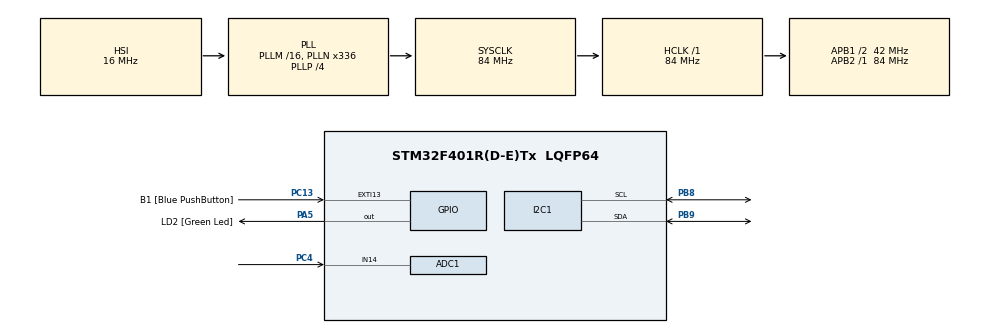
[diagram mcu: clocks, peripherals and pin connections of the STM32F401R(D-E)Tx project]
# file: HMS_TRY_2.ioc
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ADC1.Channel-0\#ChannelRegularConversion=ADC_CHANNEL_14
ADC1.ContinuousConvMode=ENABLE
ADC1.NbrOfConversionFlag=1
ADC1.Rank-0\#ChannelRegularConversion=1
ADC1.SamplingTime-0\#ChannelRegularConversion=ADC_SAMPLETIME_3CYCLES
ADC1.master=1
Mcu.Family=STM32F4
Mcu.Name=STM32F401R(D-E)Tx
Mcu.Package=LQFP64
NVIC.PriorityGroup=NVIC_PRIORITYGROUP_0
PA13.GPIO_Label=TMS
PA13.Mode=Serial_Wire
PA13.Signal=SYS_JTMS-SWDIO
PA14.GPIO_Label=TCK
PA14.Mode=Serial_Wire
PA14.Signal=SYS_JTCK-SWCLK
PA5.GPIO_Label=LD2 [Green Led]
PA5.GPIO_Mode=GPIO_MODE_OUTPUT_PP
PA5.GPIO_PuPd=GPIO_NOPULL
PA5.GPIO_Speed=GPIO_SPEED_FREQ_LOW
PA5.Signal=GPIO_Output
PB3.GPIO_Label=SWO
PB3.Signal=SYS_JTDO-SWO
PB8.GPIO_Pu=GPIO_PULLUP
PB8.Mode=I2C
PB8.Signal=I2C1_SCL
PB9.GPIO_Pu=GPIO_PULLUP
PB9.Mode=I2C
PB9.Signal=I2C1_SDA
PC13-ANTI_TAMP.GPIO_Label=B1 [Blue PushButton]
PC13-ANTI_TAMP.GPIO_ModeDefaultEXTI=GPIO_MODE_IT_FALLING
PC13-ANTI_TAMP.GPIO_PuPd=GPIO_NOPULL
PC13-ANTI_TAMP.Signal=GPXTI13
PC14-OSC32_IN.Mode=LSE-External-Oscillator
PC14-OSC32_IN.Signal=RCC_OSC32_IN
PC15-OSC32_OUT.Mode=LSE-External-Oscillator
PC15-OSC32_OUT.Signal=RCC_OSC32_OUT
PC4.Signal=ADCx_IN14
PH0\ -\ OSC_IN.Mode=HSE-External-Clock-Source
PH0\ -\ OSC_IN.Signal=RCC_OSC_IN
PH1\ -\ OSC_OUT.Mode=HSE-External-Clock-Source
PH1\ -\ OSC_OUT.Signal=RCC_OSC_OUT
ProjectManager.HeapSize=0x200
ProjectManager.StackSize=0x400
ProjectManager.TargetToolchain=STM32CubeIDE
RCC.48MHZClocksFreq_Value=48000000
RCC.AHBFreq_Value=84000000
RCC.APB1CLKDivider=RCC_HCLK_DIV2
RCC.APB1Freq_Value=42000000
RCC.APB1TimFreq_Value=84000000
RCC.APB2Freq_Value=84000000
RCC.APB2TimFreq_Value=84000000
RCC.CortexFreq_Value=84000000
RCC.HCLKFreq_Value=84000000
RCC.HSE_VALUE=8000000
RCC.HSI_VALUE=16000000
RCC.PLLN=336
RCC.PLLP=RCC_PLLP_DIV4
RCC.PLLQ=7
RCC.SYSCLKFreq_VALUE=84000000
RCC.SYSCLKSource=RCC_SYSCLKSOURCE_PLLCLK
RCC.VCOOutputFreq_Value=336000000
SH.ADCx_IN14.0=ADC1_IN14,IN14
board=NUCLEO-F401RE

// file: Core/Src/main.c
/* USER CODE BEGIN Header */
/**
 ******************************************************************************
 * @file           : main.c
 * @brief          : Main program body
 ******************************************************************************
 * @attention
 *
 * Copyright (c) 2023 STMicroelectronics.
 * All rights reserved.
 *
 * This software is licensed under terms that can be found in the LICENSE file
 * in the root directory of this software component.
 * If no LICENSE file comes with this software, it is provided AS-IS.
 *
 ******************************************************************************
 */
/* USER CODE END Header */
#include "main.h"

/* USER CODE BEGIN Includes */
#include "BML_DEF.h"
#include "uart.h"
#include "MLX90614.h"
#include "max30100.h"
#include "st7783.h"
/* USER CODE END Includes */

/* USER CODE BEGIN PD */
#define PRINT_CHAR_LEN	100
/* USER CODE END PD */

/* USER CODE BEGIN PM */
#define BEAT_COUNTER_LIMIT	25
#define HR_BEAT_TIMEOUT		60000
/* USER CODE END PM */

ADC_HandleTypeDef hadc1;

I2C_HandleTypeDef hi2c1;

/* USER CODE BEGIN PV */

char globalStr[25] = { '\0' };
float globalTemp = 0;
int globalHR = 0;
int globalSpO2 = 0;
int globalECG = 0;

int8_t menu_select_flag = -1;

//======== MLX90614 Variables ==========//
float temp = 0;
//======================================//

//=========== ECG Variables ============//
int16_t adcData = 0;
int16_t adcDataPrev = 0;
int ECG_HR = 0;
//======================================//

//======== MAX30100 Variables ==========//
max30100_config_t max30100 = { 0 };
uint8_t beatCounter = 0;
int16_t finalHR = 0;
int16_t finalSpO2 = 0;
uint16_t hrBeatTimer = 0;
//======================================//

/* USER CODE END PV */

void SystemClock_Config(void);
static void MX_GPIO_Init(void);
static void MX_I2C1_Init(void);
static void MX_ADC1_Init(void);

int main(void) {

	/* MCU Configuration--------------------------------------------------------*/

	/* Reset of all peripherals, Initializes the Flash interface and the Systick. */
	HAL_Init();

	/* Configure the system clock */
	SystemClock_Config();

	/* Initialize all configured peripherals */
	MX_GPIO_Init();
	MX_I2C1_Init();
	MX_ADC1_Init();
	/* USER CODE BEGIN 2 */
	uart_print_config(115200);
	USART_INIT(USART6, PORTA, PORTA, 11, 12, 115200);
//  USART_IT_EN(USART6, 0, 1, 0);
	print("Working\r\n");

//	globalECG = 75;
//	globalSpO2 = 97;
//	globalHR = 71;
//	globalTemp = 27.45;

	gpio_config(PORTC, 9, INPUT_MODE, LOW_SPEED, EN_PU, PHPL);
	gpio_IT_config(PORTC, 9, FALLING_EDGE);
	gpio_IT_EN(9, EXTI9_5_IRQn);

	uint8_t mlx90614_workingFlag = 1, mlx90614_status = 0;

	char print_char[PRINT_CHAR_LEN] = { 0 };

	if (!(mlx90614_init())) {
		print("Error in MLX90614 INIT\n");
		mlx90614_workingFlag = 0;
	}

	uint32_t max30100_startTime = HAL_GetTick(), max30100_lapsedTime = 500;
	uint32_t temp_startTime = HAL_GetTick(), temp_lapsedTime = 500;
	uint32_t ecg_startTime = HAL_GetTick(), ecg_lapsedTime = 60000;
	uint32_t wifi_startTime = HAL_GetTick(), wifi_lapsedTime = 2000;
	max30100_data_t result = { };

	/* USER CODE END 2 */

	/* Infinite loop */
	/* USER CODE BEGIN WHILE */
	while (1) {
		if (menu_select_flag == 0) {
			if (mlx90614_workingFlag == 1) {
				mlx90614_status = mlx90614_getObject1(&temp);
				if ((mlx90614_status == true) && ((HAL_GetTick() - temp_startTime) > temp_lapsedTime)) {
					print("Temp in Celsius: = %0.2f\n", temp);
					if((temp > 0) && (temp < 100))	globalTemp = temp;
					temp_startTime = HAL_GetTick();
//					Delay(500);
				} else {
					mlx90614_workingFlag = 0;
				}
			} else {
				if (!(mlx90614_init())) {
					print("Error in MLX90614 INIT\n");
					MX_I2C1_Init();
					Delay(500);
					mlx90614_workingFlag = 0;
				} else {
					mlx90614_workingFlag = 1;
				}
			}
		} else if (menu_select_flag == 1) {
			if (max30100_update(&max30100, &result) != HAL_OK) {
				print("Error Reading...Retrying\n");
				MX_I2C1_Init();
				max30100_init(&max30100, &hi2c1,
				MAX30100_DEFAULT_OPERATING_MODE,
				MAX30100_DEFAULT_SAMPLING_RATE,
				MAX30100_DEFAULT_LED_PULSE_WIDTH,
				MAX30100_DEFAULT_IR_LED_CURRENT,
				MAX30100_DEFAULT_START_RED_LED_CURRENT,
				MAX30100_DEFAULT_MEAN_FILTER_SIZE,
				MAX30100_DEFAULT_PULSE_BPM_SAMPLE_SIZE,
				true,
				false);
				Delay(1000);
			} else {
				hrBeatTimer = HAL_GetTick();
				if (result.pulse_detected) {
					print("BEAT: %d\n", beatCounter++);
				}
				if (HAL_GetTick() - max30100_startTime > max30100_lapsedTime) {
					if (result.ir_dc_value < 10000.00) {
						print("No finger Detected\n");
						max30100.current_bpm = 0.0;
						max30100.current_spO2 = 0.0;
					} else {
						if (beatCounter < BEAT_COUNTER_LIMIT) {
							print("BPM: %0.2f | SpO2: %0.2f%%\n",
									result.heart_bpm, result.spO2);
						} else if (beatCounter > BEAT_COUNTER_LIMIT) {
							finalHR = result.heart_bpm;
							finalSpO2 = result.spO2;
							print(
									"//===============| Final HR: %d | SpO2: %d%%|==============//\n",
									finalHR, finalSpO2);
							beatCounter = 0;

							if((finalHR > 0) && (finalHR < 100))	globalHR = finalHR;
							if((finalSpO2 > 0) && (finalSpO2 < 100))	globalSpO2 = finalSpO2;

						}
						//						else if((HAL_GetTick() - hrBeatTimer) > HR_BEAT_TIMEOUT){
						//							print("Error Calculating...\n\r");
						//							print("Please reposition your finger\n\r");
						//						}

					}

					max30100_startTime = HAL_GetTick();
				}
				HAL_Delay(10);

//				print("%0.2f, %0.2f\n", result.dc_filtered_ir,
//						result.dc_filtered_red);
			}
		} else if (menu_select_flag == 2) {
			adcDataPrev = adcData;
			HAL_ADC_Start(&hadc1);
			HAL_ADC_PollForConversion(&hadc1, 100);
			adcData = (uint16_t) HAL_ADC_GetValue(&hadc1);
			sprintf(print_char, "Analog Val: %d\n", adcData);
			USART_WRITE(USART2, print_char, strlen(print_char), 10);

			if ((adcData - adcDataPrev) > 1500) {
				ECG_HR += 1;
			}
			if ((HAL_GetTick() - ecg_startTime) > ecg_lapsedTime) {
				if((ECG_HR > 0) && (ECG_HR < 100))	globalECG = ECG_HR;

				sprintf(print_char,
						"<===========|The ECG Heart Rate is: %d|=========>\r\n",
						ECG_HR);
				USART_WRITE(USART2, print_char, strlen(print_char), 10);
				ECG_HR = 0;
				ecg_startTime = HAL_GetTick();
			}

		} else if ((menu_select_flag < -1) && (menu_select_flag > 3)) {
			menu_select_flag = -1;
			print("Oh no, a Glitch!!\n\r");
			Delay(500);
			print("We're good\n\r");
			Delay(500);
		}

		if ((HAL_GetTick() - wifi_startTime) > wifi_lapsedTime) {
			sprintf(globalStr, "T:%0.2f|H:%d|S:%d|E:%d\r\n", globalTemp,
					globalHR, globalSpO2, globalECG);
			USART_WRITE(USART6, globalStr, strlen(globalStr), 10);
			wifi_startTime = HAL_GetTick();
		}

		/* USER CODE END WHILE */

	}
}

void SystemClock_Config(void) {
	RCC_OscInitTypeDef RCC_OscInitStruct = { 0 };
	RCC_ClkInitTypeDef RCC_ClkInitStruct = { 0 };

	/** Configure the main internal regulator output voltage
	 */
	__HAL_RCC_PWR_CLK_ENABLE();
	__HAL_PWR_VOLTAGESCALING_CONFIG(PWR_REGULATOR_VOLTAGE_SCALE2);

	/** Initializes the RCC Oscillators according to the specified parameters
	 * in the RCC_OscInitTypeDef structure.
	 */
	RCC_OscInitStruct.OscillatorType = RCC_OSCILLATORTYPE_HSI;
	RCC_OscInitStruct.HSIState = RCC_HSI_ON;
	RCC_OscInitStruct.HSICalibrationValue = RCC_HSICALIBRATION_DEFAULT;
	RCC_OscInitStruct.PLL.PLLState = RCC_PLL_ON;
	RCC_OscInitStruct.PLL.PLLSource = RCC_PLLSOURCE_HSI;
	RCC_OscInitStruct.PLL.PLLM = 16;
	RCC_OscInitStruct.PLL.PLLN = 336;
	RCC_OscInitStruct.PLL.PLLP = RCC_PLLP_DIV4;
	RCC_OscInitStruct.PLL.PLLQ = 7;
	if (HAL_RCC_OscConfig(&RCC_OscInitStruct) != HAL_OK) {
		Error_Handler();
	}

	/** Initializes the CPU, AHB and APB buses clocks
	 */
	RCC_ClkInitStruct.ClockType = RCC_CLOCKTYPE_HCLK | RCC_CLOCKTYPE_SYSCLK
			| RCC_CLOCKTYPE_PCLK1 | RCC_CLOCKTYPE_PCLK2;
	RCC_ClkInitStruct.SYSCLKSource = RCC_SYSCLKSOURCE_PLLCLK;
	RCC_ClkInitStruct.AHBCLKDivider = RCC_SYSCLK_DIV1;
	RCC_ClkInitStruct.APB1CLKDivider = RCC_HCLK_DIV2;
	RCC_ClkInitStruct.APB2CLKDivider = RCC_HCLK_DIV1;

	if (HAL_RCC_ClockConfig(&RCC_ClkInitStruct, FLASH_LATENCY_2) != HAL_OK) {
		Error_Handler();
	}
}

static void MX_ADC1_Init(void) {

	ADC_ChannelConfTypeDef sConfig = { 0 };

	/** Configure the global features of the ADC (Clock, Resolution, Data Alignment and number of conversion)
	 */
	hadc1.Instance = ADC1;
	hadc1.Init.ClockPrescaler = ADC_CLOCK_SYNC_PCLK_DIV4;
	hadc1.Init.Resolution = ADC_RESOLUTION_12B;
	hadc1.Init.ScanConvMode = DISABLE;
	hadc1.Init.ContinuousConvMode = ENABLE;
	hadc1.Init.DiscontinuousConvMode = DISABLE;
	hadc1.Init.ExternalTrigConvEdge = ADC_EXTERNALTRIGCONVEDGE_NONE;
	hadc1.Init.ExternalTrigConv = ADC_SOFTWARE_START;
	hadc1.Init.DataAlign = ADC_DATAALIGN_RIGHT;
	hadc1.Init.NbrOfConversion = 1;
	hadc1.Init.DMAContinuousRequests = DISABLE;
	hadc1.Init.EOCSelection = ADC_EOC_SINGLE_CONV;
	if (HAL_ADC_Init(&hadc1) != HAL_OK) {
		Error_Handler();
	}

	/** Configure for the selected ADC regular channel its corresponding rank in the sequencer and its sample time.
	 */
	sConfig.Channel = ADC_CHANNEL_14;
	sConfig.Rank = 1;
	sConfig.SamplingTime = ADC_SAMPLETIME_3CYCLES;
	if (HAL_ADC_ConfigChannel(&hadc1, &sConfig) != HAL_OK) {
		Error_Handler();
	}

}

static void MX_I2C1_Init(void) {

	hi2c1.Instance = I2C1;
	hi2c1.Init.ClockSpeed = 100000;
	hi2c1.Init.DutyCycle = I2C_DUTYCYCLE_2;
	hi2c1.Init.OwnAddress1 = 0;
	hi2c1.Init.AddressingMode = I2C_ADDRESSINGMODE_7BIT;
	hi2c1.Init.DualAddressMode = I2C_DUALADDRESS_DISABLE;
	hi2c1.Init.OwnAddress2 = 0;
	hi2c1.Init.GeneralCallMode = I2C_GENERALCALL_DISABLE;
	hi2c1.Init.NoStretchMode = I2C_NOSTRETCH_DISABLE;
	if (HAL_I2C_Init(&hi2c1) != HAL_OK) {
		Error_Handler();
	}

}

static void MX_GPIO_Init(void) {
	GPIO_InitTypeDef GPIO_InitStruct = { 0 };

	/* GPIO Ports Clock Enable */
	__HAL_RCC_GPIOC_CLK_ENABLE();
	__HAL_RCC_GPIOH_CLK_ENABLE();
	__HAL_RCC_GPIOA_CLK_ENABLE();
	__HAL_RCC_GPIOB_CLK_ENABLE();

	/*Configure GPIO pin Output Level */
	HAL_GPIO_WritePin(LD2_GPIO_Port, LD2_Pin, GPIO_PIN_RESET);

	/*Configure GPIO pin : B1_Pin */
	GPIO_InitStruct.Pin = B1_Pin;
	GPIO_InitStruct.Mode = GPIO_MODE_IT_FALLING;
	GPIO_InitStruct.Pull = GPIO_NOPULL;
	HAL_GPIO_Init(B1_GPIO_Port, &GPIO_InitStruct);

	/*Configure GPIO pin : LD2_Pin */
	GPIO_InitStruct.Pin = LD2_Pin;
	GPIO_InitStruct.Mode = GPIO_MODE_OUTPUT_PP;
	GPIO_InitStruct.Pull = GPIO_NOPULL;
	GPIO_InitStruct.Speed = GPIO_SPEED_FREQ_LOW;
	HAL_GPIO_Init(LD2_GPIO_Port, &GPIO_InitStruct);

}

/* USER CODE BEGIN 4 */
void EXTI9_5_IRQHandler() {
	if (gpio_IT_CHK(9)) {
		for(int i = 2000000; i > 0; i--);
		menu_select_flag = (menu_select_flag + 1) % 3;
		gpio_IT_CLR(9);
	}
}
/* USER CODE END 4 */

void Error_Handler(void) {
	__disable_irq();
	while (1) {
	}
}
